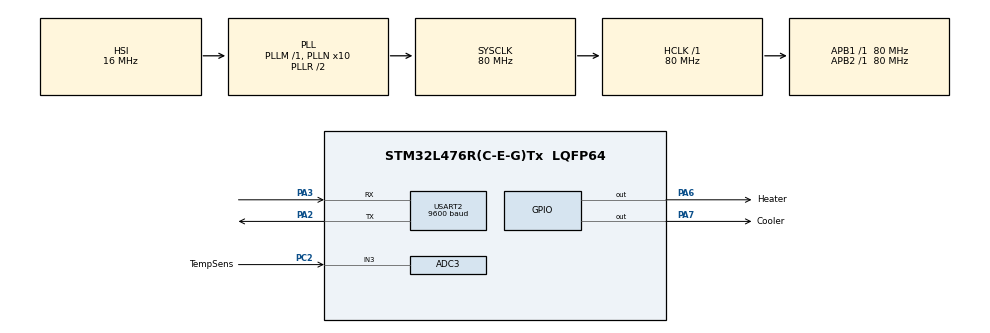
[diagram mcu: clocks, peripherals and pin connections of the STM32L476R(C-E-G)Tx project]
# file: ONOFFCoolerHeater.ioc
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ADC3.Channel-0\#ChannelRegularConversion=ADC_CHANNEL_3
ADC3.NbrOfConversionFlag=1
ADC3.OffsetNumber-0\#ChannelRegularConversion=ADC_OFFSET_NONE
ADC3.Rank-0\#ChannelRegularConversion=1
ADC3.SamplingTime-0\#ChannelRegularConversion=ADC_SAMPLETIME_2CYCLES_5
Mcu.Family=STM32L4
Mcu.Name=STM32L476R(C-E-G)Tx
Mcu.Package=LQFP64
NVIC.PriorityGroup=NVIC_PRIORITYGROUP_4
PA2.Mode=Asynchronous
PA2.Signal=USART2_TX
PA3.Mode=Asynchronous
PA3.Signal=USART2_RX
PA6.GPIO_Label=Heater
PA6.Signal=GPIO_Output
PA7.GPIO_Label=Cooler
PA7.Signal=GPIO_Output
PC2.GPIO_Label=TempSens
PC2.Signal=ADCx_IN3
PH0-OSC_IN\ (PH0).Mode=HSE-External-Oscillator
PH0-OSC_IN\ (PH0).Signal=RCC_OSC_IN
PH1-OSC_OUT\ (PH1).Mode=HSE-External-Oscillator
PH1-OSC_OUT\ (PH1).Signal=RCC_OSC_OUT
ProjectManager.HeapSize=0x200
ProjectManager.StackSize=0x400
ProjectManager.TargetToolchain=STM32CubeIDE
RCC.ADCFreq_Value=64000000
RCC.AHBFreq_Value=80000000
RCC.APB1Freq_Value=80000000
RCC.APB1TimFreq_Value=80000000
RCC.APB2Freq_Value=80000000
RCC.APB2TimFreq_Value=80000000
RCC.CortexFreq_Value=80000000
RCC.HCLKFreq_Value=80000000
RCC.HSE_VALUE=8000000
RCC.HSI_VALUE=16000000
RCC.LSE_VALUE=32768
RCC.MSI_VALUE=4000000
RCC.PLLN=10
RCC.PLLSourceVirtual=RCC_PLLSOURCE_HSI
RCC.SYSCLKFreq_VALUE=80000000
RCC.SYSCLKSource=RCC_SYSCLKSOURCE_PLLCLK
RCC.USBFreq_Value=64000000
RCC.VCOOutputFreq_Value=160000000
SH.ADCx_IN3.0=ADC3_IN3,IN3-Single-Ended
USART2.BaudRate=9600
USART2.VirtualMode-Asynchronous=VM_ASYNC
board=custom

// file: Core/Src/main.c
/* USER CODE BEGIN Header */
/**
  ******************************************************************************
  * @file           : main.c
  * @brief          : Main program body
  ******************************************************************************
  * @attention
  *
  * Copyright (c) 2024 STMicroelectronics.
  * All rights reserved.
  *
  * This software is licensed under terms that can be found in the LICENSE file
  * in the root directory of this software component.
  * If no LICENSE file comes with this software, it is provided AS-IS.
  *
  ******************************************************************************
  */
/* USER CODE END Header */
#include "main.h"

/* USER CODE BEGIN Includes */
#include <stdio.h>
#include <string.h>
/* USER CODE END Includes */

ADC_HandleTypeDef hadc3;

UART_HandleTypeDef huart2;

void SystemClock_Config(void);
static void MX_GPIO_Init(void);
static void MX_ADC3_Init(void);
static void MX_USART2_UART_Init(void);

int main(void)
{

  /* MCU Configuration--------------------------------------------------------*/

  /* Reset of all peripherals, Initializes the Flash interface and the Systick. */
  HAL_Init();

  /* Configure the system clock */
  SystemClock_Config();

  /* Initialize all configured peripherals */
  MX_GPIO_Init();
  MX_ADC3_Init();
  MX_USART2_UART_Init();
  /* USER CODE BEGIN 2 */
char send[30];
uint32_t adcResult;
float Temperature;
float TempSet=25.0;
HAL_ADC_Start(&hadc3);
  /* USER CODE END 2 */

  /* Infinite loop */
  /* USER CODE BEGIN WHILE */
  while (1)
  {
	  HAL_ADC_PollForConversion(&hadc3, 100);
	  adcResult= HAL_ADC_GetValue(&hadc3);
	  Temperature=((float)adcResult)*3300.0/40950.0;
	  sprintf(send,"Temperatura : %3.2f \r\n", Temperature);
	  HAL_UART_Transmit(&huart2, send, strlen(send), HAL_MAX_DELAY);
	  sprintf(send,"Temperatura zadana : %3.2f \r\n", TempSet);
	  HAL_UART_Transmit(&huart2, send, strlen(send), HAL_MAX_DELAY);
	  if(Temperature>TempSet+1.0)
	  {
		  HAL_GPIO_WritePin(Cooler_GPIO_Port, Cooler_Pin, 1);
	  }else{

		  HAL_GPIO_WritePin(Cooler_GPIO_Port, Cooler_Pin, 0);

	  }
	  if(Temperature<TempSet-1.0)
	  {

		  HAL_GPIO_WritePin(Heater_GPIO_Port, Heater_Pin, 1);

	  }else{

		  HAL_GPIO_WritePin(Heater_GPIO_Port, Heater_Pin, 0);

	  }
	  sprintf(send,"Heater: %d \r\nCooler: %d",HAL_GPIO_ReadPin(Heater_GPIO_Port, Heater_Pin),HAL_GPIO_ReadPin(Cooler_GPIO_Port, Cooler_Pin));
	  HAL_UART_Transmit(&huart2, send, strlen(send), HAL_MAX_DELAY);
	  HAL_Delay(1000);
	  HAL_ADC_Start(&hadc3);
    /* USER CODE END WHILE */

  }
}

void SystemClock_Config(void)
{
  RCC_OscInitTypeDef RCC_OscInitStruct = {0};
  RCC_ClkInitTypeDef RCC_ClkInitStruct = {0};

  /** Configure the main internal regulator output voltage
  */
  if (HAL_PWREx_ControlVoltageScaling(PWR_REGULATOR_VOLTAGE_SCALE1) != HAL_OK)
  {
    Error_Handler();
  }

  /** Initializes the RCC Oscillators according to the specified parameters
  * in the RCC_OscInitTypeDef structure.
  */
  RCC_OscInitStruct.OscillatorType = RCC_OSCILLATORTYPE_HSI;
  RCC_OscInitStruct.HSIState = RCC_HSI_ON;
  RCC_OscInitStruct.HSICalibrationValue = RCC_HSICALIBRATION_DEFAULT;
  RCC_OscInitStruct.PLL.PLLState = RCC_PLL_ON;
  RCC_OscInitStruct.PLL.PLLSource = RCC_PLLSOURCE_HSI;
  RCC_OscInitStruct.PLL.PLLM = 1;
  RCC_OscInitStruct.PLL.PLLN = 10;
  RCC_OscInitStruct.PLL.PLLP = RCC_PLLP_DIV7;
  RCC_OscInitStruct.PLL.PLLQ = RCC_PLLQ_DIV2;
  RCC_OscInitStruct.PLL.PLLR = RCC_PLLR_DIV2;
  if (HAL_RCC_OscConfig(&RCC_OscInitStruct) != HAL_OK)
  {
    Error_Handler();
  }

  /** Initializes the CPU, AHB and APB buses clocks
  */
  RCC_ClkInitStruct.ClockType = RCC_CLOCKTYPE_HCLK|RCC_CLOCKTYPE_SYSCLK
                              |RCC_CLOCKTYPE_PCLK1|RCC_CLOCKTYPE_PCLK2;
  RCC_ClkInitStruct.SYSCLKSource = RCC_SYSCLKSOURCE_PLLCLK;
  RCC_ClkInitStruct.AHBCLKDivider = RCC_SYSCLK_DIV1;
  RCC_ClkInitStruct.APB1CLKDivider = RCC_HCLK_DIV1;
  RCC_ClkInitStruct.APB2CLKDivider = RCC_HCLK_DIV1;

  if (HAL_RCC_ClockConfig(&RCC_ClkInitStruct, FLASH_LATENCY_4) != HAL_OK)
  {
    Error_Handler();
  }
}

static void MX_ADC3_Init(void)
{

  ADC_ChannelConfTypeDef sConfig = {0};

  /** Common config
  */
  hadc3.Instance = ADC3;
  hadc3.Init.ClockPrescaler = ADC_CLOCK_ASYNC_DIV1;
  hadc3.Init.Resolution = ADC_RESOLUTION_12B;
  hadc3.Init.DataAlign = ADC_DATAALIGN_RIGHT;
  hadc3.Init.ScanConvMode = ADC_SCAN_DISABLE;
  hadc3.Init.EOCSelection = ADC_EOC_SINGLE_CONV;
  hadc3.Init.LowPowerAutoWait = DISABLE;
  hadc3.Init.ContinuousConvMode = DISABLE;
  hadc3.Init.NbrOfConversion = 1;
  hadc3.Init.DiscontinuousConvMode = DISABLE;
  hadc3.Init.ExternalTrigConv = ADC_SOFTWARE_START;
  hadc3.Init.ExternalTrigConvEdge = ADC_EXTERNALTRIGCONVEDGE_NONE;
  hadc3.Init.DMAContinuousRequests = DISABLE;
  hadc3.Init.Overrun = ADC_OVR_DATA_PRESERVED;
  hadc3.Init.OversamplingMode = DISABLE;
  if (HAL_ADC_Init(&hadc3) != HAL_OK)
  {
    Error_Handler();
  }

  /** Configure Regular Channel
  */
  sConfig.Channel = ADC_CHANNEL_3;
  sConfig.Rank = ADC_REGULAR_RANK_1;
  sConfig.SamplingTime = ADC_SAMPLETIME_2CYCLES_5;
  sConfig.SingleDiff = ADC_SINGLE_ENDED;
  sConfig.OffsetNumber = ADC_OFFSET_NONE;
  sConfig.Offset = 0;
  if (HAL_ADC_ConfigChannel(&hadc3, &sConfig) != HAL_OK)
  {
    Error_Handler();
  }

}

static void MX_USART2_UART_Init(void)
{

  huart2.Instance = USART2;
  huart2.Init.BaudRate = 9600;
  huart2.Init.WordLength = UART_WORDLENGTH_8B;
  huart2.Init.StopBits = UART_STOPBITS_1;
  huart2.Init.Parity = UART_PARITY_NONE;
  huart2.Init.Mode = UART_MODE_TX_RX;
  huart2.Init.HwFlowCtl = UART_HWCONTROL_NONE;
  huart2.Init.OverSampling = UART_OVERSAMPLING_16;
  huart2.Init.OneBitSampling = UART_ONE_BIT_SAMPLE_DISABLE;
  huart2.AdvancedInit.AdvFeatureInit = UART_ADVFEATURE_NO_INIT;
  if (HAL_UART_Init(&huart2) != HAL_OK)
  {
    Error_Handler();
  }

}

static void MX_GPIO_Init(void)
{
  GPIO_InitTypeDef GPIO_InitStruct = {0};

  /* GPIO Ports Clock Enable */
  __HAL_RCC_GPIOH_CLK_ENABLE();
  __HAL_RCC_GPIOC_CLK_ENABLE();
  __HAL_RCC_GPIOA_CLK_ENABLE();

  /*Configure GPIO pin Output Level */
  HAL_GPIO_WritePin(GPIOA, Heater_Pin|Cooler_Pin, GPIO_PIN_RESET);

  /*Configure GPIO pins : Heater_Pin Cooler_Pin */
  GPIO_InitStruct.Pin = Heater_Pin|Cooler_Pin;
  GPIO_InitStruct.Mode = GPIO_MODE_OUTPUT_PP;
  GPIO_InitStruct.Pull = GPIO_NOPULL;
  GPIO_InitStruct.Speed = GPIO_SPEED_FREQ_LOW;
  HAL_GPIO_Init(GPIOA, &GPIO_InitStruct);

}

void Error_Handler(void)
{
  __disable_irq();
  while (1)
  {
  }
}
